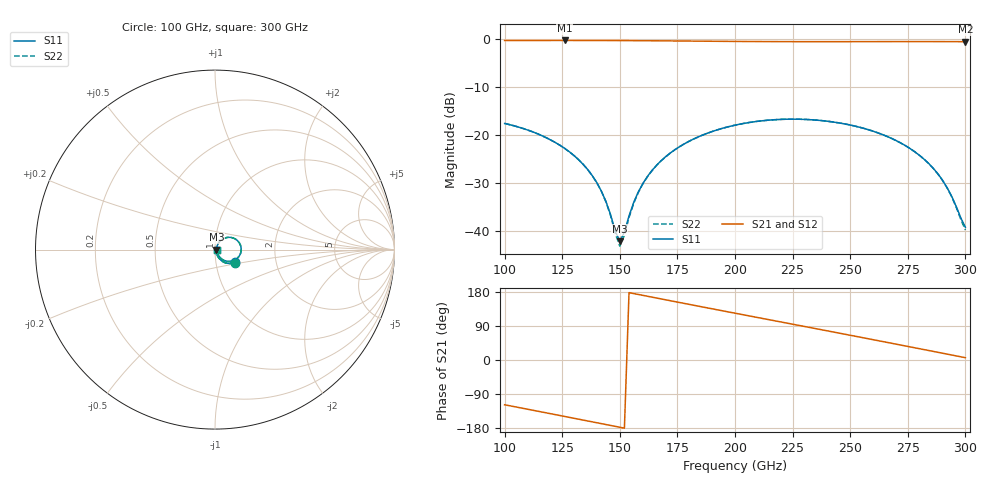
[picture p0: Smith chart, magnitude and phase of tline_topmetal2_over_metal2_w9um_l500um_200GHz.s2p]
#  GHZ S DB R 50
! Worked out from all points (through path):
!   101 points, 100 GHz to 300 GHz, reference 50 ohm
!   highest |S21| = -0.38 dB at 126 GHz (marker M1); lowest = -0.6 dB at 300 GHz (marker M2)
!   group delay of S21, straight-line fit = 3.27 ps
!   lowest |S11| = -42.1 dB at 150 GHz (marker M3), VSWR 1.02, Z = 50.8 - j0.0557 ohm
!   |S11| at or under -10 dB: start of sweep to end of sweep
!   |S22| runs from -43.1 to -16.7 dB; largest |S21 - S12| = 1.1e-14
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100  -17.60 -32.7  -0.39 -118.1  -0.39 -118.1  -17.60 -33.2
114  -19.69 -47.4  -0.39 -134.7  -0.39 -134.7  -19.69 -48.0
126  -22.76 -59.0  -0.38 -148.9  -0.38 -148.9  -22.75 -59.9
134  -26.04 -65.2  -0.38 -158.4  -0.38 -158.4  -26.04 -66.4
142  -31.63 -65.8  -0.39 -167.9  -0.39 -167.9  -31.68 -67.9
144  -33.81 -62.9  -0.40 -170.3  -0.40 -170.3  -33.90 -65.5
150  -42.08 -4.0  -0.41 -177.5  -0.41 -177.5  -43.06 -5.2
152  -40.12 32.6  -0.41 -179.9  -0.41 -179.9  -40.77 35.1
154  -36.81 50.2  -0.42 177.7  -0.42 177.7  -37.12 52.6
158  -31.85 60.8  -0.43 173.0  -0.43 173.0  -31.95 62.2
162  -28.60 62.0  -0.44 168.2  -0.44 168.2  -28.65 62.9
168  -25.31 59.2  -0.46 161.1  -0.46 161.1  -25.33 59.7
182  -20.84 47.0  -0.52 144.6  -0.52 144.6  -20.85 47.1
200  -17.96 28.4  -0.58 123.5  -0.58 123.5  -17.96 28.2
218  -16.80 8.8  -0.62 102.6  -0.62 102.6  -16.80 8.4
234  -16.86 -8.7  -0.63 84.0  -0.63 84.0  -16.86 -9.2
250  -17.93 -26.0  -0.63 65.3  -0.63 65.3  -17.93 -26.6
268  -20.72 -44.5  -0.62 44.1  -0.62 44.1  -20.71 -45.3
280  -24.19 -54.8  -0.62 29.9  -0.62 29.9  -24.19 -56.0
288  -28.02 -58.3  -0.62 20.4  -0.62 20.4  -28.04 -59.9
294  -32.67 -53.4  -0.62 13.2  -0.62 13.2  -32.76 -55.7
300  -39.13 -12.4  -0.63 6.1  -0.63 6.1  -39.70 -14.5
